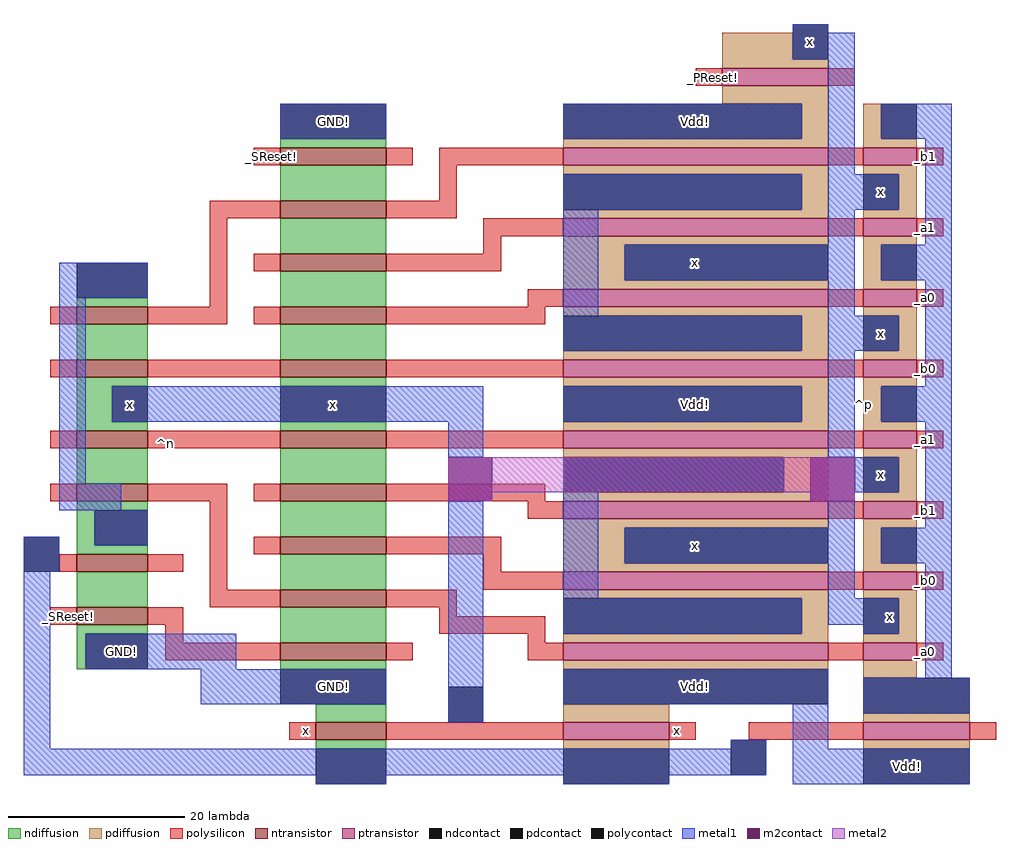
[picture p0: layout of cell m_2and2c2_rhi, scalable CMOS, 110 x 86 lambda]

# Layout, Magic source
magic
tech scmos
<< ndiffusion >>
rect 24 108 36 109
rect 24 102 36 106
rect 1 90 9 91
rect 24 96 36 100
rect 24 90 36 94
rect 1 84 9 88
rect 24 84 36 88
rect 1 81 9 82
rect 1 77 5 81
rect 1 76 9 77
rect 24 81 36 82
rect 24 76 36 77
rect 1 70 9 74
rect 24 70 36 74
rect 1 67 9 68
rect 1 63 3 67
rect 1 62 9 63
rect 1 56 9 60
rect 24 64 36 68
rect 24 58 36 62
rect 1 53 9 54
rect 1 49 2 53
rect 24 52 36 56
rect 24 49 36 50
rect 28 43 36 45
rect 28 40 36 41
<< pdiffusion >>
rect 74 118 82 121
rect 74 117 86 118
rect 74 113 86 115
rect 83 109 86 113
rect 56 108 86 109
rect 90 109 92 113
rect 90 108 96 109
rect 56 105 86 106
rect 83 101 86 105
rect 56 100 86 101
rect 90 105 96 106
rect 94 101 96 105
rect 90 100 96 101
rect 56 97 86 98
rect 56 93 63 97
rect 56 92 86 93
rect 90 97 96 98
rect 90 93 92 97
rect 90 92 96 93
rect 56 89 86 90
rect 83 85 86 89
rect 56 84 86 85
rect 90 89 96 90
rect 94 85 96 89
rect 90 84 96 85
rect 56 81 86 82
rect 83 77 86 81
rect 56 76 86 77
rect 90 81 96 82
rect 90 77 92 81
rect 90 76 96 77
rect 56 73 86 74
rect 81 69 86 73
rect 56 68 86 69
rect 90 73 96 74
rect 94 69 96 73
rect 90 68 96 69
rect 56 65 86 66
rect 56 61 63 65
rect 56 60 86 61
rect 90 65 96 66
rect 90 61 92 65
rect 90 60 96 61
rect 56 57 86 58
rect 83 53 86 57
rect 56 52 86 53
rect 90 57 96 58
rect 94 53 96 57
rect 90 52 96 53
rect 56 49 86 50
rect 90 48 96 50
rect 56 43 68 45
rect 90 43 102 44
rect 56 40 68 41
rect 90 40 102 41
<< ntransistor >>
rect 24 106 36 108
rect 24 100 36 102
rect 24 94 36 96
rect 1 88 9 90
rect 24 88 36 90
rect 1 82 9 84
rect 24 82 36 84
rect 1 74 9 76
rect 24 74 36 76
rect 1 68 9 70
rect 24 68 36 70
rect 1 60 9 62
rect 24 62 36 64
rect 24 56 36 58
rect 1 54 9 56
rect 24 50 36 52
rect 28 41 36 43
<< ptransistor >>
rect 74 115 86 117
rect 56 106 86 108
rect 90 106 96 108
rect 56 98 86 100
rect 90 98 96 100
rect 56 90 86 92
rect 90 90 96 92
rect 56 82 86 84
rect 90 82 96 84
rect 56 74 86 76
rect 90 74 96 76
rect 56 66 86 68
rect 90 66 96 68
rect 56 58 86 60
rect 90 58 96 60
rect 56 50 86 52
rect 90 50 96 52
rect 56 41 68 43
rect 90 41 102 43
<< polysilicon >>
rect 71 115 74 117
rect 86 115 89 117
rect 21 106 24 108
rect 36 106 39 108
rect 42 106 56 108
rect 86 106 90 108
rect 96 106 99 108
rect 42 102 44 106
rect 16 100 24 102
rect 36 100 44 102
rect 16 90 18 100
rect 47 98 56 100
rect 86 98 90 100
rect 96 98 99 100
rect 47 96 49 98
rect 21 94 24 96
rect 36 94 49 96
rect 52 90 56 92
rect 86 90 90 92
rect 96 90 99 92
rect -2 88 1 90
rect 9 88 18 90
rect 21 88 24 90
rect 36 88 54 90
rect -2 82 1 84
rect 9 82 24 84
rect 36 82 56 84
rect 86 82 90 84
rect 96 82 99 84
rect -2 74 1 76
rect 9 74 24 76
rect 36 74 56 76
rect 86 74 90 76
rect 96 74 99 76
rect -2 68 1 70
rect 9 68 18 70
rect 21 68 24 70
rect 36 68 54 70
rect -1 60 1 62
rect 9 60 13 62
rect 16 58 18 68
rect 52 66 56 68
rect 86 66 90 68
rect 96 66 99 68
rect 21 62 24 64
rect 36 62 49 64
rect 47 60 49 62
rect 47 58 56 60
rect 86 58 90 60
rect 96 58 99 60
rect 16 56 24 58
rect 36 56 44 58
rect -2 54 1 56
rect 9 54 13 56
rect 11 52 13 54
rect 42 55 44 56
rect 42 53 54 55
rect 52 52 54 53
rect 11 50 24 52
rect 36 50 39 52
rect 52 50 56 52
rect 86 50 90 52
rect 96 50 99 52
rect 25 41 28 43
rect 36 41 56 43
rect 68 41 71 43
rect 77 41 90 43
rect 102 41 105 43
<< ndcontact >>
rect 24 109 36 113
rect 1 91 9 95
rect 5 77 9 81
rect 24 77 36 81
rect 3 63 9 67
rect 2 49 9 53
rect 24 45 36 49
rect 28 36 36 40
<< pdcontact >>
rect 82 118 86 122
rect 56 109 83 113
rect 92 109 96 113
rect 56 101 83 105
rect 90 101 94 105
rect 63 93 86 97
rect 92 93 96 97
rect 56 85 83 89
rect 90 85 94 89
rect 56 77 83 81
rect 92 77 96 81
rect 56 69 81 73
rect 90 69 94 73
rect 63 61 86 65
rect 92 61 96 65
rect 56 53 83 57
rect 90 53 94 57
rect 56 45 86 49
rect 90 44 102 48
rect 56 36 68 40
rect 90 36 102 40
<< polycontact >>
rect -5 60 -1 64
rect 43 43 47 47
rect 75 37 79 41
<< metal1 >>
rect 82 121 86 122
rect 82 118 89 121
rect 24 109 36 113
rect 56 109 83 113
rect 86 105 89 118
rect 92 109 100 113
rect 56 101 83 105
rect 86 101 94 105
rect -1 91 9 95
rect -1 70 2 91
rect 56 89 60 101
rect 86 97 89 101
rect 97 97 100 109
rect 63 93 89 97
rect 92 93 100 97
rect 86 89 89 93
rect 56 85 83 89
rect 86 85 94 89
rect 5 77 47 81
rect 56 77 83 81
rect 43 73 47 77
rect 86 73 89 85
rect 97 81 100 93
rect 92 77 100 81
rect -1 67 6 70
rect 56 69 81 73
rect -5 60 -1 64
rect 3 63 9 67
rect -5 40 -2 60
rect 2 49 19 53
rect 15 45 36 49
rect 43 43 47 68
rect 56 57 60 69
rect 89 69 94 73
rect 86 65 89 68
rect 97 65 100 77
rect 63 61 89 65
rect 92 61 100 65
rect 86 57 89 61
rect 56 53 83 57
rect 86 54 94 57
rect 90 53 94 54
rect 56 45 86 49
rect 97 48 100 61
rect 75 40 79 41
rect -5 37 79 40
rect 82 40 86 45
rect 90 44 102 48
rect 28 36 36 37
rect 56 36 68 37
rect 82 36 102 40
<< m2contact >>
rect 43 68 48 73
rect 84 68 89 73
<< metal2 >>
rect 43 69 89 73
rect 43 68 48 69
rect 84 68 89 69
<< labels >>
rlabel polysilicon 97 91 97 91 7 _a0
rlabel polysilicon 97 99 97 99 7 _a1
rlabel polysilicon 97 83 97 83 7 _b0
rlabel polysilicon 97 107 97 107 7 _b1
rlabel polysilicon 97 51 97 51 1 _a0
rlabel polysilicon 97 75 97 75 1 _a1
rlabel polysilicon 97 59 97 59 1 _b0
rlabel polysilicon 97 67 97 67 1 _b1
rlabel space 74 36 106 122 3 ^p
rlabel polysilicon 69 42 69 42 7 x
rlabel polysilicon 23 107 23 107 1 _SReset!
rlabel polysilicon 27 42 27 42 7 x
rlabel polysilicon 0 55 0 55 3 _SReset!
rlabel space -6 35 28 114 7 ^n
rlabel polysilicon 73 116 73 116 3 _PReset!
rlabel space 70 115 73 118 3 ^p
rlabel pdcontact 71 47 71 47 1 Vdd!
rlabel pdcontact 71 111 71 111 1 Vdd!
rlabel pdcontact 71 79 71 79 1 Vdd!
rlabel pdcontact 93 55 93 55 1 x
rlabel pdcontact 92 71 92 71 1 x
rlabel pdcontact 92 103 92 103 1 x
rlabel pdcontact 92 87 92 87 1 x
rlabel pdcontact 71 95 71 95 1 x
rlabel pdcontact 71 63 71 63 1 x
rlabel pdcontact 95 38 95 38 1 Vdd!
rlabel ndcontact 30 47 30 47 1 GND!
rlabel ndcontact 30 79 30 79 1 x
rlabel ndcontact 30 111 30 111 1 GND!
rlabel ndcontact 7 79 7 79 1 x
rlabel ndcontact 6 51 6 51 1 GND!
rlabel pdcontact 84 120 84 120 1 x
<< end >>
